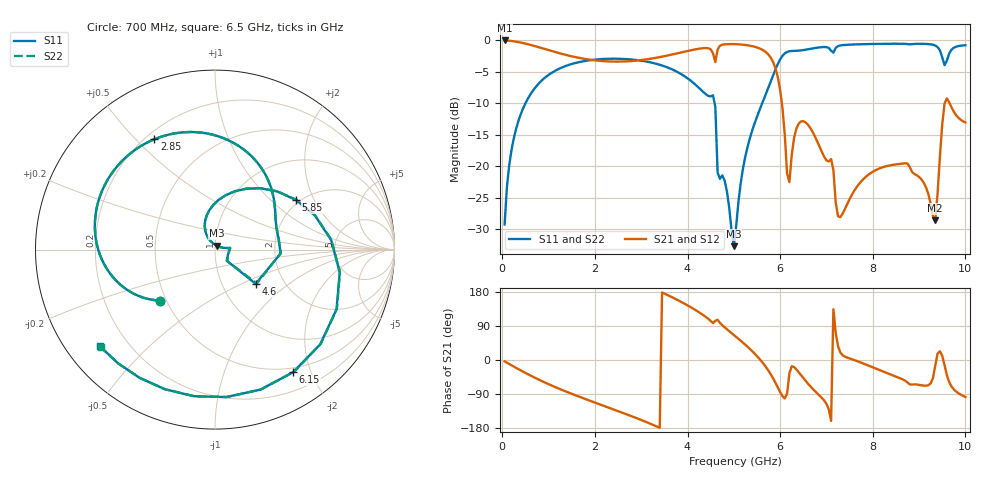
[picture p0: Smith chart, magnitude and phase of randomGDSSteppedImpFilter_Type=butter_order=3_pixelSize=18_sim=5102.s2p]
! freq	dB(S11)	phase(S11)	dB(S12)	phase(S12)
!  dB(S21)	phase(S21)	dB(S22)	phase(S22)
!S-par simulation data
#  GHz  S  DB  R 50
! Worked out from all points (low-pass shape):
!   200 points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, 50 MHz to 10 GHz, reference 50 ohm
!   highest |S21| = -0.01 dB at 50 MHz (marker M1); lowest = -28.6 dB at 9.35 GHz (marker M2)
!   |S21| within 3 dB of the highest: start of sweep to 1.84 GHz; 3.116 GHz to 4.584 GHz (1.468 GHz wide, 38.1 % of centre) (the widest 2 of 3)
!   lowest |S11| = -32.7 dB at 5 GHz (marker M3), VSWR 1.05, Z = 50.9 + j2.18 ohm
!   |S11| at or under -10 dB: start of sweep to 498.9 MHz; 4.585 GHz to 5.612 GHz (1.027 GHz wide, 20.1 % of centre)
!   |S22| runs from -32.6 to -0.5 dB; largest |S21 - S12| = 0
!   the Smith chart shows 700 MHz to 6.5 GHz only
!   S11 on the Smith chart (normalised r, x): 700 MHz: 0.46, -0.32; 2.85 GHz: 0.23, +0.57; 4.6 GHz: 1.44, -0.60; 5.85 GHz: 1.91, +1.47; 6.15 GHz: 0.44, -1.74; 6.5 GHz: 0.10, -0.36
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0.05  -29.23 -93.7  -0.01 -3.6  -0.01 -3.6  -29.23 -93.7
0.25  -15.49 -108.0  -0.15 -17.5  -0.15 -17.5  -15.49 -108.0
0.7  -7.60 -137.1  -0.90 -46.6  -0.90 -46.6  -7.60 -137.1
1.75  -3.31 168.5  -2.90 -101.0  -2.90 -101.0  -3.31 168.5
2.85  -3.08 118.8  -3.24 -150.9  -3.24 -150.9  -3.08 118.8
3.4  -3.87 91.2  -2.65 -179.0  -2.65 -179.0  -3.87 91.3
4.4  -8.57 24.6  -1.21 113.3  -1.21 113.3  -8.56 24.9
4.6  -10.57 -40.1  -3.44 103.5  -3.44 103.5  -10.47 -39.0
4.65  -20.98 -43.5  -1.45 106.0  -1.45 106.0  -20.61 -43.2
5  -32.67 66.9  -0.59 66.1  -0.59 66.1  -32.61 66.7
5.05  -29.49 104.3  -0.60 61.1  -0.60 61.1  -29.46 104.0
5.5  -12.12 92.5  -1.12 10.2  -1.12 10.2  -12.11 92.4
5.85  -5.52 31.5  -3.48 -49.0  -3.48 -49.0  -5.52 31.7
6.15  -1.83 -57.5  -21.16 -88.2  -21.16 -88.2  -1.83 -57.1
6.5  -1.54 -140.0  -12.83 -47.8  -12.83 -47.8  -1.54 -139.6
6.7  -1.28 -172.3  -14.52 -75.7  -14.52 -75.7  -1.28 -171.9
7.1  -1.64 138.4  -18.85 -160.9  -18.85 -160.9  -1.65 138.5
7.25  -0.90 131.3  -27.92 36.3  -27.92 36.3  -0.91 131.6
8.35  -0.53 58.0  -19.87 -36.6  -19.87 -36.6  -0.53 58.1
9.35  -0.82 6.6  -28.56 -14.1  -28.56 -14.1  -0.81 6.8
9.55  -3.94 3.0  -10.01 -13.6  -10.01 -13.6  -3.86 3.1
10  -0.77 -7.1  -13.02 -97.6  -13.02 -97.6  -0.77 -7.2
